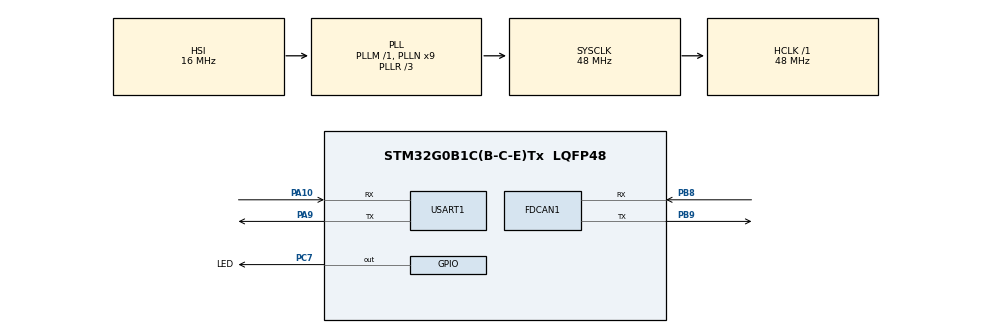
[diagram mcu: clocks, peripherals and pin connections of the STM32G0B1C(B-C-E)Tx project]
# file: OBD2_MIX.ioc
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FDCAN1.CalculateBaudRateNominal=500000
FDCAN1.CalculateTimeBitNominal=2000
FDCAN1.CalculateTimeQuantumNominal=250.0
FDCAN1.ClockDivider=FDCAN_CLOCK_DIV1
FDCAN1.NominalPrescaler=12
FDCAN1.NominalTimeSeg1=4
FDCAN1.NominalTimeSeg2=3
Mcu.Family=STM32G0
Mcu.Name=STM32G0B1C(B-C-E)Tx
Mcu.Package=LQFP48
NVIC.TIM16_FDCAN_IT0_IRQn=true\:0\:0\:false\:false\:true\:true\:true\:true
NVIC.USART1_IRQn=true\:0\:0\:false\:false\:true\:true\:true\:true
PA10.Mode=Asynchronous
PA10.Signal=USART1_RX
PA9.Mode=Asynchronous
PA9.Signal=USART1_TX
PB8.Mode=FDCAN_Activate
PB8.Signal=FDCAN1_RX
PB9.Mode=FDCAN_Activate
PB9.Signal=FDCAN1_TX
PC7.GPIO_Label=LED
PC7.Signal=GPIO_Output
ProjectManager.HeapSize=0x200
ProjectManager.StackSize=0x400
ProjectManager.TargetToolchain=STM32CubeIDE
RCC.ADCFreq_Value=48000000
RCC.AHBFreq_Value=48000000
RCC.CortexFreq_Value=48000000
RCC.EXTERNAL_CLOCK_VALUE=48000
RCC.HCLKFreq_Value=48000000
RCC.HSE_VALUE=8000000
RCC.HSI48_VALUE=48000000
RCC.HSI_VALUE=16000000
RCC.LSE_VALUE=32768
RCC.PLLN=9
RCC.PLLR=RCC_PLLR_DIV3
RCC.SYSCLKFreq_VALUE=48000000
RCC.SYSCLKSource=RCC_SYSCLKSOURCE_PLLCLK
RCC.USBFreq_Value=48000000
RCC.VCOOutputFreq_Value=144000000
USART1.VirtualMode-Asynchronous=VM_ASYNC
board=custom

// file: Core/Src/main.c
/* USER CODE BEGIN Header */
/**
  ******************************************************************************
  * @file           : main.c
  * @brief          : Main program body
  ******************************************************************************
  * @attention
  *
  * Copyright (c) 2023 STMicroelectronics.
  * All rights reserved.
  *
  * This software is licensed under terms that can be found in the LICENSE file
  * in the root directory of this software component.
  * If no LICENSE file comes with this software, it is provided AS-IS.
  *
  ******************************************************************************
  */
/* USER CODE END Header */
#include "main.h"

/* USER CODE BEGIN Includes */
#include "stdio.h"
#include "string.h"
/* USER CODE END Includes */

FDCAN_HandleTypeDef hfdcan1;
UART_HandleTypeDef huart1;

/* USER CODE BEGIN PV */
struct OBD2{
	int Speed;
	int RPM;
	int temp;
	int MAF;
	int Odometer;
};
struct OBD2 OBD2_data = {0,0,0,0,0};
/* USER CODE END PV */

void SystemClock_Config(void);
static void MX_GPIO_Init(void);
static void MX_FDCAN1_Init(void);
static void MX_USART1_UART_Init(void);
/* USER CODE BEGIN PFP */
uint8_t _RPM(uint8_t _PID);
uint8_t _RPM_11(uint8_t _PID);
uint8_t CAN_Protocal_detect(void);
uint8_t Wait_Tx_Timeout(FDCAN_HandleTypeDef *hfdcan, uint32_t set_timeout);
int8_t Wait_Rx_Timeout(FDCAN_HandleTypeDef *hfdcan, uint32_t set_timeout);
/* USER CODE END PFP */

/* USER CODE BEGIN 0 */
FDCAN_TxHeaderTypeDef TxHeader;
FDCAN_RxHeaderTypeDef RxHeader;
uint8_t TxData[8];
uint8_t RxData[8];

int ing = 0;
uint8_t buf[150] = {0};
char buf1[150] = {0};
int pid_Response = 0;
int cal = 0;
uint8_t can_active_mode = 0;
uint8_t rchar = 50;
uint8_t ing_count = 0;
HAL_StatusTypeDef error_code;
FDCAN_ProtocolStatusTypeDef can_status;

void HAL_FDCAN_RxFifo0Callback(FDCAN_HandleTypeDef *hfdcan1, uint32_t RxFifo0ITs)
{
	if ( HAL_FDCAN_GetRxMessage(hfdcan1, FDCAN_RX_FIFO0, &RxHeader, RxData) == HAL_OK){
		if(rchar == 49 || rchar == 50 )
		{
			if(RxData[1] == 0x41)
			{
				pid_Response = 1;
				ing = 1;
				if(RxData[2] == 0x0C){
					OBD2_data.RPM = ( RxData[4]|(RxData[3] << 8) )/4 ;
				}
				else if(RxData[2] == 0x0D){
					OBD2_data.Speed = RxData[3];
				}
				else if(RxData[2] == 0x10){
					OBD2_data.MAF = ( RxData[4]|(RxData[3] << 8) )/100 ;
				}
				else if(RxData[2] == 0x05){
					OBD2_data.temp = (RxData[3] - 40);
				}
				else if(RxData[2] == 0xA6){
					OBD2_data.Odometer = (0xFFFFFFFF & ( RxData[3] << 24) ) ;
					OBD2_data.Odometer = OBD2_data.Odometer |(0xFFFFFFFF & ( RxData[4] << 16) );
					OBD2_data.Odometer = OBD2_data.Odometer |(0xFFFFFFFF & ( RxData[5] << 8) );
					OBD2_data.Odometer = OBD2_data.Odometer|RxData[6];
				}

			}
			else if(RxData[0] == 0x00 && RxData[1] == 0x00)
			{
				if(cal == 0)
				{
					pid_Response = 1;
				}
			}
		}
		else{
			if(RxData[1] == 0x00)
			{
				if(RxData[2] == 0x00)
				{
//					sprintf((char *)buf,"0X%lX %02X %02X %02X %02X %02X %02X %02X %02X\n",RxHeader.Identifier ,RxData[0],RxData[1],RxData[2],RxData[3],RxData[4],RxData[5],RxData[6],RxData[7]);
//					HAL_UART_Transmit(&huart1, (uint8_t*)buf, strlen((char *)buf), 1000);
					if(cal == 0)
					{
						pid_Response = 1;
						can_active_mode = 0;
					}
				}
			}
		}
	}
}

uint32_t current_time = 0;

/* USER CODE END 0 */

int main(void)
{

  /* MCU Configuration--------------------------------------------------------*/

  /* Reset of all peripherals, Initializes the Flash interface and the Systick. */
  HAL_Init();

  /* Configure the system clock */
  SystemClock_Config();

  /* Initialize all configured peripherals */
  MX_GPIO_Init();
  MX_USART1_UART_Init();
  MX_FDCAN1_Init();

  /* USER CODE BEGIN 2 */
  HAL_UART_Transmit(&huart1, (uint8_t*) "OBD2 G0B1 Test\n",strlen("OBD2 G0B1 Test\n"), 1000);
  HAL_FDCAN_ActivateNotification(&hfdcan1, FDCAN_IT_RX_FIFO0_NEW_MESSAGE, FDCAN_TX_BUFFER0 ); //enable interrupts
  HAL_FDCAN_Start(&hfdcan1); //start CAN
  HAL_UART_Receive_IT(&huart1, &rchar, 1);

  HAL_UART_Transmit(&huart1, (uint8_t*) "Protocol searching\n",strlen("Protocol searching\n"), 1000);
  current_time  = HAL_GetTick();
  rchar = CAN_Protocal_detect();
  sprintf((char *)buf,"Protocol detect %d\n",rchar);
  HAL_UART_Transmit(&huart1, (uint8_t*)buf, strlen((char *)buf), 1000);
  if(rchar == 0)
  {
	  can_active_mode = 0;
  }
  else{
	  can_active_mode = 1;
  }
	  /* USER CODE END 2 */
  /* Infinite loop */
  while (1)
  {

    /* USER CODE BEGIN 3 */
	  if( HAL_GetTick() - current_time > 1000 )
	  {
		  current_time  = HAL_GetTick();
		  if(can_active_mode == 1){
			   if(rchar == 49)
				{
					pid_Response = 0;
					_RPM(0X0C);  // RPM
					HAL_Delay (10);
					_RPM(0X0D);	// SPEED
					HAL_Delay (10);
					_RPM(0X10);	// MAF
					HAL_Delay (10);
					_RPM(0X05);	// temp
					HAL_Delay (10);
					_RPM(0XA6);	// Odometer
				}
				else if(rchar == 50)
				{
					pid_Response = 0;
					_RPM_11(0X0C);  // RPM
					HAL_Delay (10);
					_RPM_11(0X0D);	// SPEED
					HAL_Delay (10);
					_RPM_11(0X10);	// MAF
					HAL_Delay (10);
					_RPM_11(0X05);	// temp
					HAL_Delay (10);
					_RPM_11(0XA6);	// Odometer
				}
				else{
					HAL_UART_Transmit(&huart1, (uint8_t*)"rec\n", strlen("rec\n"), 1000);
				}
			   if(pid_Response ==  0){
					ing_count++;
					if(ing_count > 10)
					{
						ing = 0;
						can_active_mode = 0;
						ing_count = 0;
					}
			   }
			HAL_FDCAN_GetProtocolStatus(&hfdcan1, &can_status);
			if( can_status.LastErrorCode == 3 ||can_status.Warning == 1 )
			{
				ing = 0;
			}
			sprintf((char *)buf,"%d %d %d RPM %d SPEED %d MAF %d Temp %d Odometer %f\n",ing_count,rchar ,ing , OBD2_data.RPM, OBD2_data.Speed, OBD2_data.MAF, OBD2_data.temp ,OBD2_data.Odometer/10.0);
			HAL_UART_Transmit(&huart1, (uint8_t*)buf, strlen((char *)buf), 1000);
		  }
		  else{
			  if(pid_Response == 1)
			  {
				  can_active_mode = 1;
				  rchar = CAN_Protocal_detect();
			  }
			  sprintf((char *)buf,"%d Img %d %d Car OFF\n",rchar, can_active_mode, ing);
			  HAL_UART_Transmit(&huart1, (uint8_t*)buf, strlen((char *)buf), 1000);
		  }
		  if(rchar == 'r')
		  {
			  NVIC_SystemReset();
		  }
		  pid_Response = 0;
	   }
	  HAL_Delay(10);
  }
  /* USER CODE END 3 */
}

void SystemClock_Config(void)
{
  RCC_OscInitTypeDef RCC_OscInitStruct = {0};
  RCC_ClkInitTypeDef RCC_ClkInitStruct = {0};

  /** Configure the main internal regulator output voltage
  */
  HAL_PWREx_ControlVoltageScaling(PWR_REGULATOR_VOLTAGE_SCALE1);

  /** Initializes the RCC Oscillators according to the specified parameters
  * in the RCC_OscInitTypeDef structure.
  */
  RCC_OscInitStruct.OscillatorType = RCC_OSCILLATORTYPE_HSI;
  RCC_OscInitStruct.HSIState = RCC_HSI_ON;
  RCC_OscInitStruct.HSIDiv = RCC_HSI_DIV1;
  RCC_OscInitStruct.HSICalibrationValue = RCC_HSICALIBRATION_DEFAULT;
  RCC_OscInitStruct.PLL.PLLState = RCC_PLL_ON;
  RCC_OscInitStruct.PLL.PLLSource = RCC_PLLSOURCE_HSI;
  RCC_OscInitStruct.PLL.PLLM = RCC_PLLM_DIV1;
  RCC_OscInitStruct.PLL.PLLN = 9;
  RCC_OscInitStruct.PLL.PLLP = RCC_PLLP_DIV2;
  RCC_OscInitStruct.PLL.PLLQ = RCC_PLLQ_DIV2;
  RCC_OscInitStruct.PLL.PLLR = RCC_PLLR_DIV3;
  if (HAL_RCC_OscConfig(&RCC_OscInitStruct) != HAL_OK)
  {
    Error_Handler();
  }

  /** Initializes the CPU, AHB and APB buses clocks
  */
  RCC_ClkInitStruct.ClockType = RCC_CLOCKTYPE_HCLK|RCC_CLOCKTYPE_SYSCLK
                              |RCC_CLOCKTYPE_PCLK1;
  RCC_ClkInitStruct.SYSCLKSource = RCC_SYSCLKSOURCE_PLLCLK;
  RCC_ClkInitStruct.AHBCLKDivider = RCC_SYSCLK_DIV1;
  RCC_ClkInitStruct.APB1CLKDivider = RCC_HCLK_DIV1;

  if (HAL_RCC_ClockConfig(&RCC_ClkInitStruct, FLASH_LATENCY_1) != HAL_OK)
  {
    Error_Handler();
  }
}

static void MX_FDCAN1_Init(void)
{

  hfdcan1.Instance = FDCAN1;
  hfdcan1.Init.ClockDivider = FDCAN_CLOCK_DIV1;
  hfdcan1.Init.FrameFormat = FDCAN_FRAME_CLASSIC;
  hfdcan1.Init.Mode = FDCAN_MODE_NORMAL;
  hfdcan1.Init.AutoRetransmission = DISABLE;
  hfdcan1.Init.TransmitPause = DISABLE;
  hfdcan1.Init.ProtocolException = DISABLE;
  hfdcan1.Init.NominalPrescaler = 12;
  hfdcan1.Init.NominalSyncJumpWidth = 1;
  hfdcan1.Init.NominalTimeSeg1 = 4;
  hfdcan1.Init.NominalTimeSeg2 = 3;
  hfdcan1.Init.DataPrescaler = 1;
  hfdcan1.Init.DataSyncJumpWidth = 1;
  hfdcan1.Init.DataTimeSeg1 = 1;
  hfdcan1.Init.DataTimeSeg2 = 1;
  hfdcan1.Init.StdFiltersNbr = 0;
  hfdcan1.Init.ExtFiltersNbr = 0;
  hfdcan1.Init.TxFifoQueueMode = FDCAN_TX_FIFO_OPERATION;
  if (HAL_FDCAN_Init(&hfdcan1) != HAL_OK)
  {
    Error_Handler();
  }
  /* USER CODE BEGIN FDCAN1_Init 2 */
  FDCAN_FilterTypeDef canfilterconfig;
  canfilterconfig.IdType = FDCAN_EXTENDED_ID;
  canfilterconfig.FilterIndex = 0;
  canfilterconfig.FilterType = FDCAN_FILTER_MASK;  // which filter bank to use from the assigned ones
  canfilterconfig.FilterConfig = FDCAN_FILTER_TO_RXFIFO0;
  canfilterconfig.FilterID1 = 0X10;
  canfilterconfig.FilterID2 = 0X18DAF110;

  HAL_FDCAN_ConfigFilter(&hfdcan1, &canfilterconfig);

  if (HAL_FDCAN_ConfigGlobalFilter(&hfdcan1, FDCAN_ACCEPT_IN_RX_FIFO0, FDCAN_ACCEPT_IN_RX_FIFO0, FDCAN_FILTER_REMOTE, FDCAN_FILTER_REMOTE) != HAL_OK) {
  		Error_Handler();
  }
  if( HAL_FDCAN_EnableISOMode(&hfdcan1) == HAL_OK)
  {
	  HAL_UART_Transmit(&huart1, (uint8_t*)"****EnableISOMode\n", strlen("****EnableISOMode\n"), 1000);
  }
  else{
	  HAL_UART_Transmit(&huart1, (uint8_t*)"****Fail ISOMode\n", strlen("****Fail ISOMode\n"), 1000);
  }
  /* USER CODE END FDCAN1_Init 2 */

}

static void MX_USART1_UART_Init(void)
{

  huart1.Instance = USART1;
  huart1.Init.BaudRate = 115200;
  huart1.Init.WordLength = UART_WORDLENGTH_8B;
  huart1.Init.StopBits = UART_STOPBITS_1;
  huart1.Init.Parity = UART_PARITY_NONE;
  huart1.Init.Mode = UART_MODE_TX_RX;
  huart1.Init.HwFlowCtl = UART_HWCONTROL_NONE;
  huart1.Init.OverSampling = UART_OVERSAMPLING_16;
  huart1.Init.OneBitSampling = UART_ONE_BIT_SAMPLE_DISABLE;
  huart1.Init.ClockPrescaler = UART_PRESCALER_DIV1;
  huart1.AdvancedInit.AdvFeatureInit = UART_ADVFEATURE_NO_INIT;
  if (HAL_UART_Init(&huart1) != HAL_OK)
  {
    Error_Handler();
  }
  if (HAL_UARTEx_SetTxFifoThreshold(&huart1, UART_TXFIFO_THRESHOLD_1_8) != HAL_OK)
  {
    Error_Handler();
  }
  if (HAL_UARTEx_SetRxFifoThreshold(&huart1, UART_RXFIFO_THRESHOLD_1_8) != HAL_OK)
  {
    Error_Handler();
  }
  if (HAL_UARTEx_DisableFifoMode(&huart1) != HAL_OK)
  {
    Error_Handler();
  }

}

static void MX_GPIO_Init(void)
{
  GPIO_InitTypeDef GPIO_InitStruct = {0};

  /* GPIO Ports Clock Enable */
  __HAL_RCC_GPIOA_CLK_ENABLE();
  __HAL_RCC_GPIOC_CLK_ENABLE();
  __HAL_RCC_GPIOB_CLK_ENABLE();

  /*Configure GPIO pin Output Level */
  HAL_GPIO_WritePin(LED_GPIO_Port, LED_Pin, GPIO_PIN_RESET);

  /*Configure GPIO pin : LED_Pin */
  GPIO_InitStruct.Pin = LED_Pin;
  GPIO_InitStruct.Mode = GPIO_MODE_OUTPUT_PP;
  GPIO_InitStruct.Pull = GPIO_NOPULL;
  GPIO_InitStruct.Speed = GPIO_SPEED_FREQ_LOW;
  HAL_GPIO_Init(LED_GPIO_Port, &GPIO_InitStruct);

}

/* USER CODE BEGIN 4 */
uint8_t _RPM(uint8_t _PID)
{
	TxHeader.Identifier = 0x18DB33F1;   // ID
	TxHeader.IdType = FDCAN_EXTENDED_ID;
	TxHeader.TxFrameType = FDCAN_DATA_FRAME;
	TxHeader.DataLength = FDCAN_DLC_BYTES_8;  // data length
	TxHeader.ErrorStateIndicator = FDCAN_ESI_ACTIVE;
	TxHeader.BitRateSwitch = FDCAN_BRS_OFF;
	TxHeader.FDFormat = FDCAN_CLASSIC_CAN;
	TxHeader.TxEventFifoControl = FDCAN_STORE_TX_EVENTS;
	TxHeader.MessageMarker = 0x52;

	TxData[0] = 0x02;
	TxData[1] = 0X01;
	TxData[2] = _PID;
	error_code = HAL_FDCAN_AddMessageToTxFifoQ(&hfdcan1, &TxHeader, TxData);
	error_code = Wait_Tx_Timeout(&hfdcan1, 1000);
	if (error_code == 1)
	{
		return 1;
	}
	return 0;
}

uint8_t _RPM_11(uint8_t _PID)
{
	TxHeader.Identifier = 0x7DF;   // ID
	TxHeader.IdType = FDCAN_STANDARD_ID;
	TxHeader.TxFrameType = FDCAN_DATA_FRAME;
	TxHeader.DataLength = FDCAN_DLC_BYTES_8;  // data length
	TxHeader.ErrorStateIndicator = FDCAN_ESI_ACTIVE;
	TxHeader.BitRateSwitch = FDCAN_BRS_OFF;
	TxHeader.FDFormat = FDCAN_CLASSIC_CAN;
	TxHeader.TxEventFifoControl = FDCAN_STORE_TX_EVENTS;
	TxHeader.MessageMarker = 0x52;

	TxData[0] = 0x02;
	TxData[1] = 0X01;
	TxData[2] = _PID;
	error_code = HAL_FDCAN_AddMessageToTxFifoQ(&hfdcan1, &TxHeader, TxData);
	error_code = Wait_Tx_Timeout(&hfdcan1, 1000);
	if (error_code == 1)
	{
		return 1;
	}
	return 0;
}

uint8_t Wait_Tx_Timeout(FDCAN_HandleTypeDef *hfdcan, uint32_t set_timeout)
{

	uint32_t aTickstart = 0; /* 10 */
	uint32_t aTotalTick = 0;
	aTickstart = HAL_GetTick(); /* Get tick */
	/* Check transmission occurred before timeout */
	while (HAL_FDCAN_IsTxBufferMessagePending(hfdcan, FDCAN_TX_BUFFER0) != 0) {
		aTotalTick = HAL_GetTick() - aTickstart;
		if (aTotalTick > set_timeout) {
			HAL_UART_Transmit(&huart1, (uint8_t*) "Tx Buf Msg Pnd-> timeout\n",strlen("Tx Buf Msg Pnd-> timeout\n"), 1000);
			return 0;
		}
	}
//	sprintf((char *)buf,"Tx Buf Msg Pnd->time take %d\n",(int)aTotalTick);
//	HAL_UART_Transmit(&huart1, (uint8_t*)buf, strlen((char *)buf), 1000);
	return 1;
}

int8_t Wait_Rx_Timeout(FDCAN_HandleTypeDef *hfdcan, uint32_t set_timeout)
{
	uint32_t aTickstart = 0; /* 10 */
	uint32_t aTotalTick = 0;
	aTickstart = HAL_GetTick(); /* Get tick */
	/* Check one message is received in Rx FIFO 0 */
	while (HAL_FDCAN_GetRxFifoFillLevel(hfdcan, FDCAN_RX_FIFO0) < 1) {
		aTotalTick = HAL_GetTick() - aTickstart;
		if (aTotalTick > set_timeout) {
			HAL_UART_Transmit(&huart1, (uint8_t*) "Rx Fifo Fill Lev-> timeout\n", strlen("Rx Fifo Fill Lev-> timeout\n"), 1000);
			return 0;
		}
	}
	sprintf((char *)buf,"Rx Fifo Fill Lev-> time take %d\n",(int)aTotalTick);
	HAL_UART_Transmit(&huart1, (uint8_t*)buf, strlen((char *)buf), 1000);
	return 1;
}

uint8_t CAN_Protocal_detect(void){
	cal = 1;
	pid_Response = 0;
	int i = 0;
	rchar = 49;
	HAL_Delay (1000);
	for(i = 0; i<5; i++)
	{
		_RPM(0X0C);
		 HAL_Delay (1000);
		 if(pid_Response ==  1){
			 cal = 0;
			 return 49;
		 }
	}
	rchar = 50;
	for(i = 0; i<5; i++)
	{
		_RPM_11(0X0C);
		 HAL_Delay (1000);
		 if(pid_Response ==  1){
			 cal = 0;
			 return 50;
		 }
	}
	return 0;
}

/* USER CODE END 4 */

void Error_Handler(void)
{
  __disable_irq();
  while (1)
  {
  }
}
